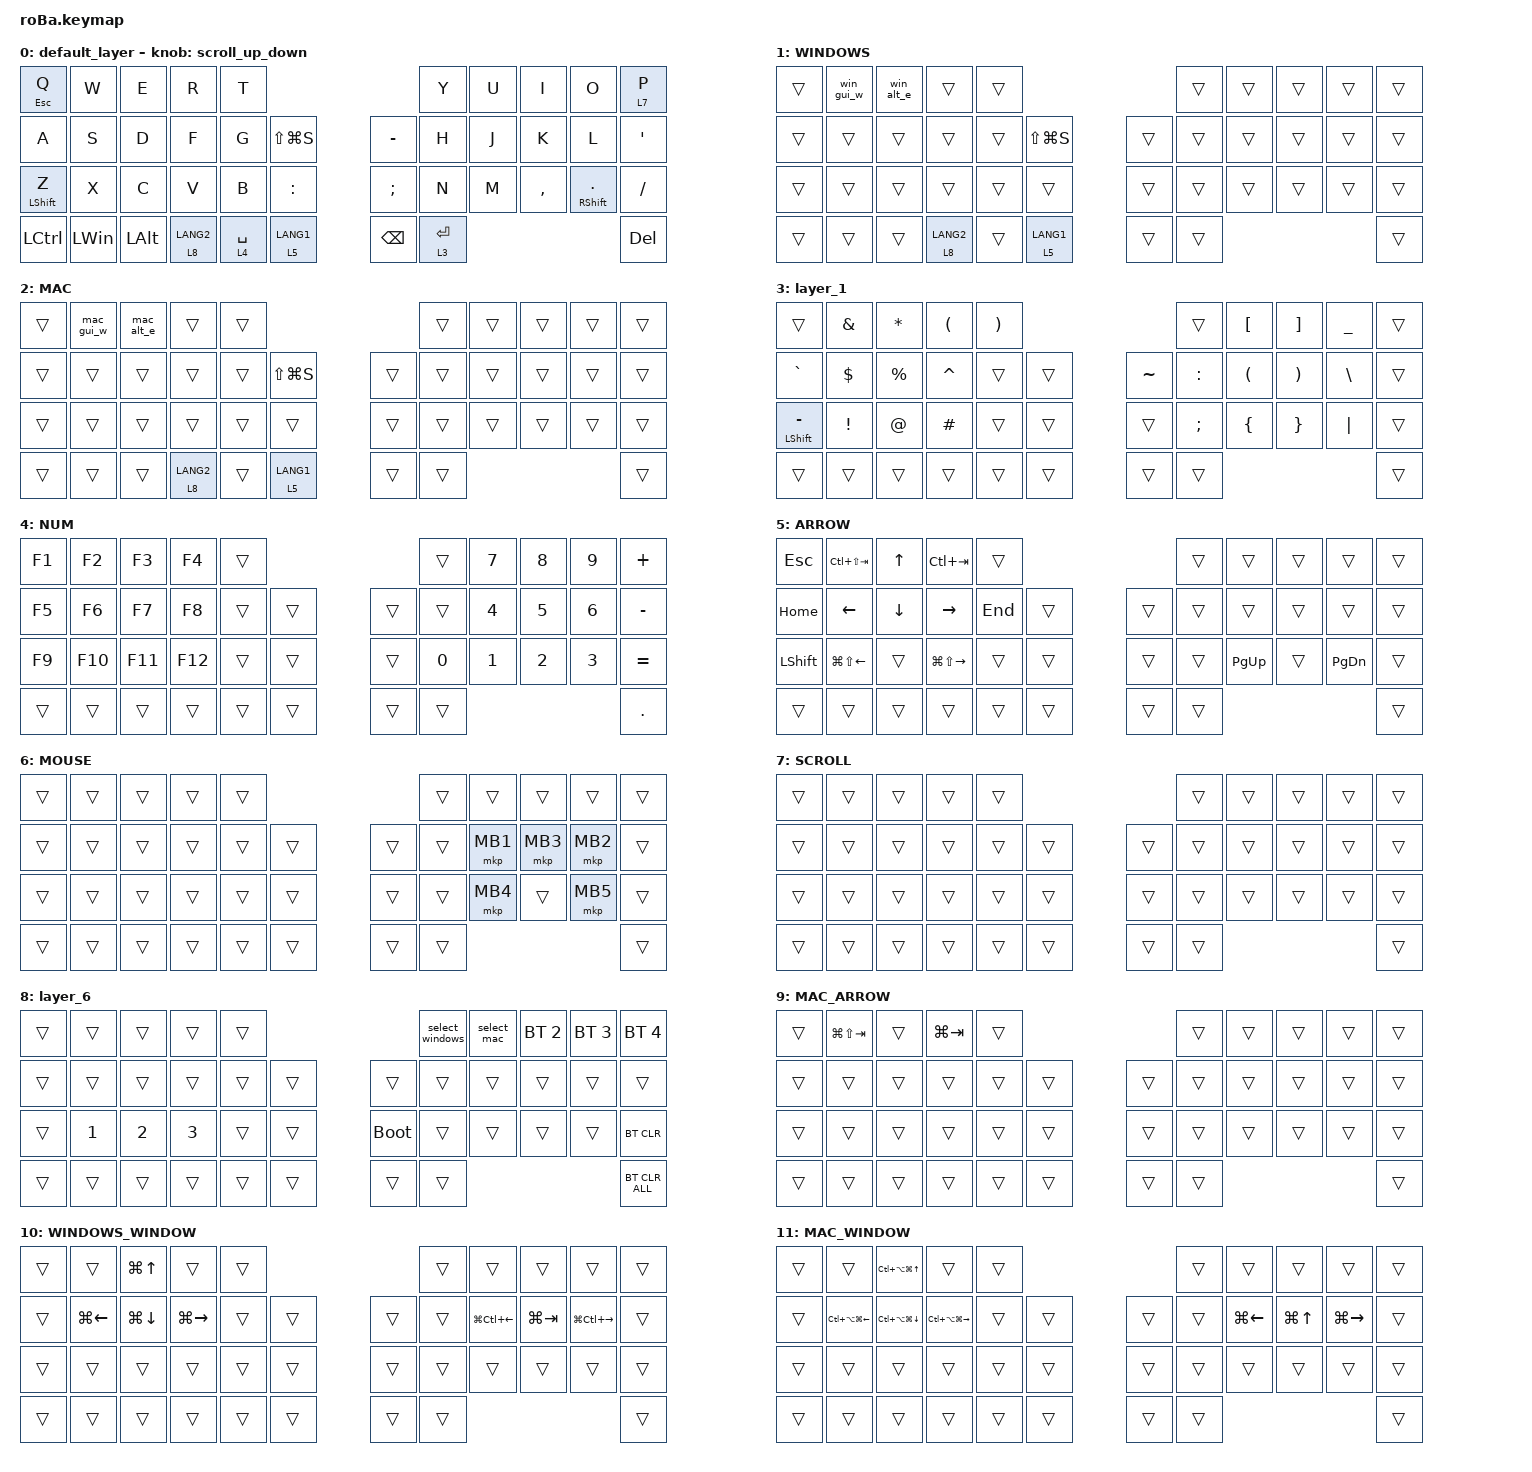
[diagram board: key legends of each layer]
// roBa keymap: Windows=BT 0, macOS=BT 1
#include <behaviors.dtsi>
#include <dt-bindings/zmk/bt.h>
#include <dt-bindings/zmk/keys.h>
#include <dt-bindings/zmk/pointing.h>

#define ZMK_POINTING_DEFAULT_SCRL_VAL 100

&mt {
    flavor = "balanced";
    quick-tap-ms = <0>;
    tapping-term-ms = <200>;
};

&trackball {
    automouse-layer = <6>;
    scroll-layers = <7>;

    // arrows {
    //     layers = <5>;
    //     bindings =
    //         <&kp RIGHT_ARROW>,
    //         <&kp LEFT_ARROW>,
    //         <&kp UP_ARROW>,
    //         <&kp DOWN_ARROW>;
    //     tick = <10>;
    //     wait-ms = <5>;
    //     tap-ms = <5>;
    // };
};

/ {
    conditional_layers {
        compatible = "zmk,conditional-layers";

        mac_arrow {
            if-layers = <2 5>;
            then-layer = <9>;
        };

        windows_window {
            if-layers = <1 8>;
            then-layer = <10>;
        };

        mac_window {
            if-layers = <2 8>;
            then-layer = <11>;
        };
    };

    combos {
        compatible = "zmk,combos";

        tab {
            bindings = <&kp TAB>;
            key-positions = <11 12>;
        };

        shift_tab {
            bindings = <&kp LS(TAB)>;
            key-positions = <12 13>;
        };

        double_quotation {
            bindings = <&kp DOUBLE_QUOTES>;
            key-positions = <20 21>;
        };

        eq {
            bindings = <&kp EQUAL>;
            key-positions = <24 25>;
        };

    };

    macros {
        to_layer_0: to_layer_0 {
            compatible = "zmk,behavior-macro-one-param";
            #binding-cells = <1>;
            bindings = <&to 0 &macro_param_1to1 &kp MACRO_PLACEHOLDER>;
            label = "TO_LAYER_0";
        };

        select_windows: select_windows {
            compatible = "zmk,behavior-macro";
            #binding-cells = <0>;
            wait-ms = <0>;
            tap-ms = <0>;
            bindings = <&bt BT_SEL 0>, <&to 1>;
            label = "SELECT_WINDOWS";
        };

        select_mac: select_mac {
            compatible = "zmk,behavior-macro";
            #binding-cells = <0>;
            wait-ms = <0>;
            tap-ms = <0>;
            bindings = <&bt BT_SEL 1>, <&to 2>;
            label = "SELECT_MAC";
        };
    };

    behaviors {
        lt_to_layer_0: lt_to_layer_0 {
            compatible = "zmk,behavior-hold-tap";
            label = "LAYER_TAP_TO_0";
            bindings = <&mo>, <&to_layer_0>;

            #binding-cells = <2>;
            tapping-term-ms = <200>;
        };

        lt_scroll: lt_scroll {
            compatible = "zmk,behavior-hold-tap";
            flavor = "tap-preferred";
            #binding-cells = <2>;
            tapping-term-ms = <150>;
            bindings = <&mo>, <&kp>;
        };

        scroll_up_down: behavior_sensor_rotate_mouse_wheel_up_down {
            compatible = "zmk,behavior-sensor-rotate";
            #sensor-binding-cells = <0>;
            bindings = <&msc SCRL_DOWN>, <&msc SCRL_UP>;
            tap-ms = <20>;
        };

        win_alt_e: win_alt_e {
            compatible = "zmk,behavior-mod-morph";
            #binding-cells = <0>;
            bindings = <&kp E>, <&kp LA(F4)>;
            mods = <(MOD_LALT | MOD_RALT)>;
        };

        mac_alt_e: mac_alt_e {
            compatible = "zmk,behavior-mod-morph";
            #binding-cells = <0>;
            bindings = <&kp E>, <&kp LC(Q)>;
            mods = <(MOD_LALT | MOD_RALT)>;
        };

        win_gui_w: win_gui_w {
            compatible = "zmk,behavior-mod-morph";
            #binding-cells = <0>;
            bindings = <&kp W>, <&kp LG(TAB)>;
            mods = <(MOD_LGUI | MOD_RGUI)>;
        };

        mac_gui_w: mac_gui_w {
            compatible = "zmk,behavior-mod-morph";
            #binding-cells = <0>;
            bindings = <&kp W>, <&kp LG(UP_ARROW)>;
            mods = <(MOD_LGUI | MOD_RGUI)>;
        };

    };

    keymap {
        compatible = "zmk,keymap";

        default_layer {
            bindings = <
&mt ESCAPE Q      &kp W         &kp E         &kp R                   &kp T                                                   &kp Y        &kp U  &kp I      &kp O                &lt_scroll 7 P
&kp A             &kp S         &kp D         &kp F                   &kp G        &kp LS(LG(S))               &kp MINUS      &kp H        &kp J  &kp K      &kp L                &kp SINGLE_QUOTE
&mt LEFT_SHIFT Z  &kp X         &kp C         &kp V                   &kp B        &kp COLON                   &kp SEMICOLON  &kp N        &kp M  &kp COMMA  &mt RIGHT_SHIFT DOT  &kp SLASH
&kp LCTRL         &kp LEFT_WIN  &kp LEFT_ALT  &lt_to_layer_0 8 LANG2  &lt 4 SPACE  &lt_to_layer_0 5 LANG1      &kp BACKSPACE  &lt 3 ENTER                                         &kp DEL
            >;

            sensor-bindings = <&scroll_up_down>;
        };

        WINDOWS {
            bindings = <
&trans  &win_gui_w  &win_alt_e  &trans  &trans                              &trans  &trans  &trans  &trans  &trans
&trans  &trans      &trans      &trans  &trans  &kp LS(LG(S))      &trans  &trans  &trans  &trans  &trans  &trans
&trans  &trans      &trans      &trans  &trans  &trans             &trans  &trans  &trans  &trans  &trans  &trans
&trans  &trans      &trans      &lt 8 LANG2  &trans  &lt 5 LANG1  &trans  &trans                          &trans
            >;
        };

        MAC {
            bindings = <
&trans  &mac_gui_w  &mac_alt_e  &trans  &trans                               &trans  &trans  &trans  &trans  &trans
&trans  &trans      &trans      &trans  &trans  &kp LS(LG(S))       &trans  &trans  &trans  &trans  &trans  &trans
&trans  &trans      &trans      &trans  &trans  &trans              &trans  &trans  &trans  &trans  &trans  &trans
&trans  &trans      &trans      &lt 8 LANG2  &trans  &lt 5 LANG1  &trans  &trans                          &trans
            >;
        };

        layer_1 {
            bindings = <
&trans                &kp AMPERSAND  &kp ASTRK    &kp LEFT_PARENTHESIS  &kp RIGHT_PARENTHESIS                         &trans         &kp LEFT_BRACKET      &kp RIGHT_BRACKET      &kp UNDER      &trans
&kp GRAVE             &kp DOLLAR     &kp PERCENT  &kp CARET             &trans                 &trans      &kp TILDE  &kp COLON      &kp LEFT_PARENTHESIS  &kp RIGHT_PARENTHESIS  &kp BACKSLASH  &trans
&mt LEFT_SHIFT MINUS  &kp EXCL       &kp AT       &kp HASH              &trans                 &trans      &trans     &kp SEMICOLON  &kp LEFT_BRACE        &kp RIGHT_BRACE        &kp PIPE       &trans
&trans                &trans         &trans       &trans                &trans                 &trans      &trans     &trans                                                                     &trans
            >;
        };

        NUM {
            bindings = <
&kp F1  &kp F2   &kp F3   &kp F4   &trans                      &trans        &kp N7        &kp N8        &kp N9        &kp PLUS
&kp F5  &kp F6   &kp F7   &kp F8   &trans  &trans      &trans  &trans        &kp NUMBER_4  &kp N5        &kp NUMBER_6  &kp MINUS
&kp F9  &kp F10  &kp F11  &kp F12  &trans  &trans      &trans  &kp NUMBER_0  &kp NUMBER_1  &kp NUMBER_2  &kp NUMBER_3  &kp EQUAL
&trans  &trans   &trans   &trans   &trans  &trans      &trans  &trans                                                  &kp PERIOD
            >;
        };

        ARROW {
            bindings = <
&kp ESCAPE      &kp LC(LS(TAB))         &kp UP_ARROW    &kp LC(TAB)              &trans                       &trans  &trans  &trans  &trans  &trans
&kp HOME        &kp LEFT_ARROW          &kp DOWN_ARROW  &kp RIGHT_ARROW          &kp END  &trans      &trans  &trans  &trans  &trans  &trans  &trans
&kp LEFT_SHIFT  &kp LG(LS(LEFT_ARROW))  &trans          &kp LG(LS(RIGHT_ARROW))  &trans   &trans      &trans  &trans  &kp PAGE_UP  &trans  &kp PAGE_DOWN  &trans
&trans          &trans                  &trans          &trans                   &trans   &trans      &trans  &trans                          &trans
            >;
        };

        MOUSE {
            bindings = <
&trans  &trans  &trans  &trans  &trans                      &trans  &trans    &trans    &trans    &trans
&trans  &trans  &trans  &trans  &trans  &trans      &trans  &trans  &mkp MB1  &mkp MB3  &mkp MB2  &trans
&trans  &trans  &trans  &trans  &trans  &trans      &trans  &trans  &mkp MB4  &trans    &mkp MB5  &trans
&trans  &trans  &trans  &trans  &trans  &trans      &trans  &trans                                &trans
            >;
        };

        SCROLL {
            bindings = <
&trans  &trans  &trans  &trans  &trans                      &trans  &trans  &trans  &trans  &trans
&trans  &trans  &trans  &trans  &trans  &trans      &trans  &trans  &trans  &trans  &trans  &trans
&trans  &trans  &trans  &trans  &trans  &trans      &trans  &trans  &trans  &trans  &trans  &trans
&trans  &trans  &trans  &trans  &trans  &trans      &trans  &trans                          &trans
            >;
        };

        layer_6 {
            bindings = <
&trans  &trans        &trans        &trans        &trans                           &select_windows  &select_mac  &bt BT_SEL 2  &bt BT_SEL 3  &bt BT_SEL 4
&trans  &trans        &trans        &trans        &trans  &trans      &trans       &trans           &trans       &trans        &trans        &trans
&trans  &kp NUMBER_1  &kp NUMBER_2  &kp NUMBER_3  &trans  &trans      &bootloader  &trans           &trans       &trans        &trans        &bt BT_CLR
&trans  &trans        &trans        &trans        &trans  &trans      &trans       &trans                                                    &bt BT_CLR_ALL
            >;
        };

        MAC_ARROW {
            bindings = <
&trans  &kp LG(LS(TAB))  &trans  &kp LG(TAB)  &trans                      &trans  &trans  &trans  &trans  &trans
&trans  &trans           &trans  &trans       &trans  &trans      &trans  &trans  &trans  &trans  &trans  &trans
&trans  &trans           &trans  &trans       &trans  &trans      &trans  &trans  &trans  &trans  &trans  &trans
&trans  &trans           &trans  &trans       &trans  &trans      &trans  &trans                          &trans
            >;
        };

        WINDOWS_WINDOW {
            bindings = <
&trans  &trans                    &kp LG(UP_ARROW)          &trans                     &trans                      &trans  &trans  &trans  &trans                       &trans
&trans  &kp LG(LEFT_ARROW)        &kp LG(DOWN_ARROW)        &kp LG(RIGHT_ARROW)         &trans  &trans      &trans  &trans  &kp LG(LC(LEFT_ARROW))        &kp LG(TAB)  &kp LG(LC(RIGHT_ARROW))  &trans
&trans  &trans                    &trans                    &trans                     &trans  &trans      &trans  &trans  &trans                       &trans       &trans                    &trans
&trans  &trans                    &trans                    &trans                     &trans  &trans      &trans  &trans                                                       &trans
            >;
        };

        MAC_WINDOW {
            bindings = <
&trans  &trans                    &kp LC(LA(LG(UP_ARROW)))    &trans                       &trans                        &trans  &trans  &trans  &trans                 &trans
&trans  &kp LC(LA(LG(LEFT_ARROW)))  &kp LC(LA(LG(DOWN_ARROW)))  &kp LC(LA(LG(RIGHT_ARROW)))  &trans  &trans      &trans  &trans  &kp LG(LEFT_ARROW)  &kp LG(UP_ARROW)  &kp LG(RIGHT_ARROW)  &trans
&trans  &trans                    &trans                      &trans                       &trans  &trans      &trans  &trans  &trans                 &trans            &trans               &trans
&trans  &trans                    &trans                      &trans                       &trans  &trans      &trans  &trans                                                &trans
            >;
        };

    };
};
